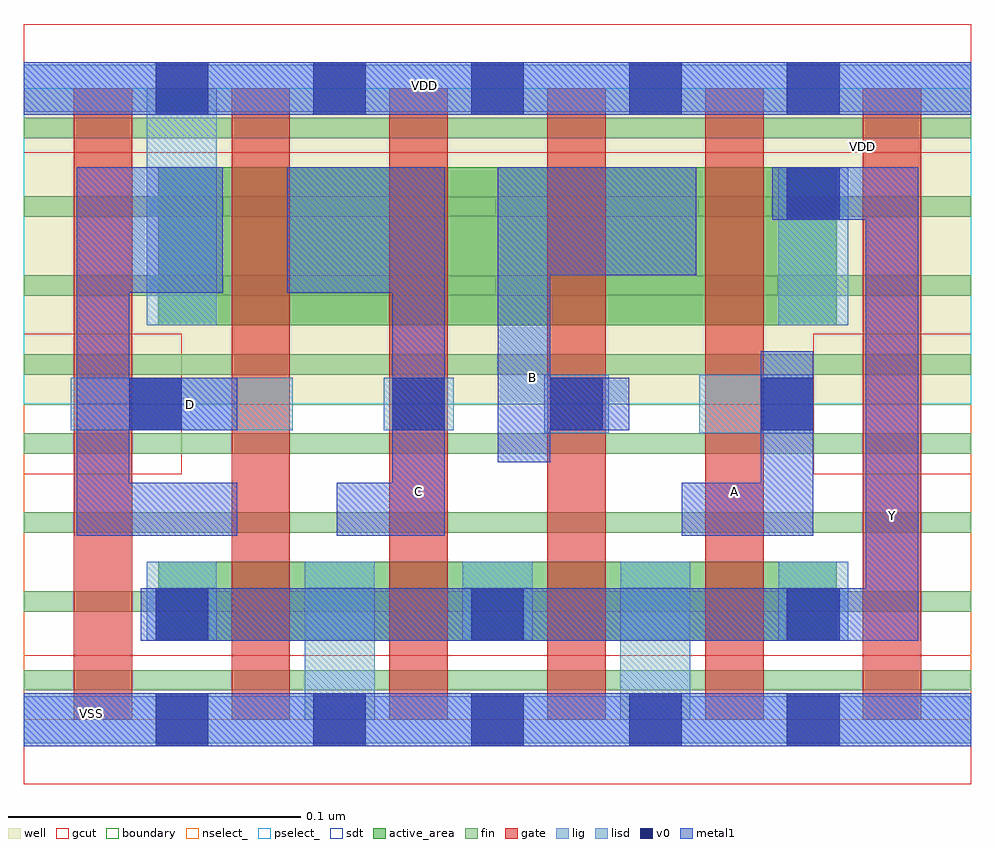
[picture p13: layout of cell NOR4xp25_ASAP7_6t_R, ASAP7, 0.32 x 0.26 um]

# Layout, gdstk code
import gdstk
lib = gdstk.Library(unit=1e-6, precision=2.5e-10)
def R(c, l, rs):  # rectangles x0, y0, x1, y1
    for r in rs: c.add(gdstk.rectangle(r[:2], r[2:], *l))
def A(c, l, x, y, w, h, nx, ny, dx, dy):  # array of equal rectangles
    R(c, l, [(x+i*dx, y+j*dy, x+i*dx+w, y+j*dy+h) for i in range(nx) for j in range(ny)])
def P(c, l, *ps):  # polygons
    for p in ps: c.add(gdstk.Polygon(p, *l))
well = (1, 0)
fin = (2, 0)
gate = (7, 0)
gcut = (10, 0)
active_area = (11, 0)
nselect_ = (12, 0)
pselect_ = (13, 0)
lig = (16, 0)
lisd = (17, 0)
v0 = (18, 0)
metal1 = (19, 0)
sdt = (88, 0)
boundary = (100, 0)

nor4xp25_asap7_6t_r = lib.new_cell('NOR4xp25_ASAP7_6t_R')
R(nor4xp25_asap7_6t_r, well, [(0,0.108,0.324,0.216)])
A(nor4xp25_asap7_6t_r, fin, 0, 0.01, 0.324, 0.007, 1, 8, 0, 0.027)
A(nor4xp25_asap7_6t_r, gate, 0.017, 0, 0.02, 0.216, 6, 1, 0.054, 0)
R(nor4xp25_asap7_6t_r, gcut, [(0,-0.022,0.324,0.022), (0,0.084,0.054,0.132), (0.27,0.084,0.324,0.132), (0,0.194,0.324,0.238)])
R(nor4xp25_asap7_6t_r, active_area, [(0.046,0.027,0.278,0.054), (0.046,0.135,0.278,0.189)])
R(nor4xp25_asap7_6t_r, nselect_, [(0,0,0.324,0.108)])
R(nor4xp25_asap7_6t_r, pselect_, [(0,0.108,0.324,0.216)])
R(nor4xp25_asap7_6t_r, lig, [(0,-0.008,0.324,0.008), (0.178,0.098,0.2,0.118), (0.231,0.098,0.27,0.118), (0.016,0.099,0.092,0.117), (0.123,0.099,0.147,0.117), (0,0.208,0.324,0.224)])
A(nor4xp25_asap7_6t_r, lisd, 0.042, 0.027, 0.024, 0.027, 3, 1, 0.108, 0)
R(nor4xp25_asap7_6t_r, lisd, [(0.096,0,0.12,0.054), (0.204,0,0.228,0.054), (0.042,0.135,0.066,0.216), (0.258,0.135,0.282,0.189)])
A(nor4xp25_asap7_6t_r, v0, 0.045, -0.009, 0.018, 0.018, 5, 2, 0.054, 0.216)
A(nor4xp25_asap7_6t_r, v0, 0.045, 0.027, 0.018, 0.018, 3, 1, 0.108, 0)
R(nor4xp25_asap7_6t_r, v0, [(0.036,0.099,0.054,0.117), (0.126,0.099,0.144,0.117), (0.18,0.099,0.198,0.117), (0.252,0.099,0.27,0.117), (0.261,0.171,0.279,0.189)])
R(nor4xp25_asap7_6t_r, metal1, [(0,-0.009,0.324,0.009), (0,0.207,0.324,0.225)])
P(nor4xp25_asap7_6t_r, metal1, [(0.207,0.099),(0.18,0.099),(0.18,0.088),(0.162,0.088),(0.162,0.189),(0.23,0.189),(0.23,0.152),(0.18,0.152),(0.18,0.117),(0.207,0.117)],
  [(0.144,0.063),(0.107,0.063),(0.107,0.081),(0.126,0.081),(0.126,0.146),(0.09,0.146),(0.09,0.189),(0.144,0.189)],
  [(0.073,0.099),(0.036,0.099),(0.036,0.081),(0.073,0.081),(0.073,0.063),(0.018,0.063),(0.018,0.189),(0.068,0.189),(0.068,0.146),(0.036,0.146),(0.036,0.117),(0.073,0.117)],
  [(0.27,0.063),(0.225,0.063),(0.225,0.081),(0.252,0.081),(0.252,0.126),(0.27,0.126)],
  [(0.306,0.027),(0.04,0.027),(0.04,0.045),(0.288,0.045),(0.288,0.171),(0.256,0.171),(0.256,0.189),(0.306,0.189)])
A(nor4xp25_asap7_6t_r, sdt, 0.042, 0.027, 0.024, 0.027, 5, 1, 0.054, 0)
R(nor4xp25_asap7_6t_r, sdt, [(0.042,0.135,0.066,0.189), (0.258,0.135,0.282,0.189)])
R(nor4xp25_asap7_6t_r, boundary, [(0,0,0.324,0.216)])
nor4xp25_asap7_6t_r.add(gdstk.Label('C', (0.135,0.078), layer=19, texttype=251))
nor4xp25_asap7_6t_r.add(gdstk.Label('D', (0.057,0.108), layer=19, texttype=251))
nor4xp25_asap7_6t_r.add(gdstk.Label('B', (0.174,0.117), layer=19, texttype=251))
nor4xp25_asap7_6t_r.add(gdstk.Label('VSS', (0.023,0.002), layer=19, texttype=251))
nor4xp25_asap7_6t_r.add(gdstk.Label('A', (0.243,0.078), layer=19, texttype=251))
nor4xp25_asap7_6t_r.add(gdstk.Label('Y', (0.297,0.07), layer=19, texttype=251))
nor4xp25_asap7_6t_r.add(gdstk.Label('VDD', (0.137,0.217), layer=19, texttype=251))
nor4xp25_asap7_6t_r.add(gdstk.Label('VSS', (0.356,0.195), layer=3, texttype=251))
nor4xp25_asap7_6t_r.add(gdstk.Label('VDD', (0.287,0.196), layer=1, texttype=251))

lib.write_gds('NOR4xp25_ASAP7_6t_R.gds')
